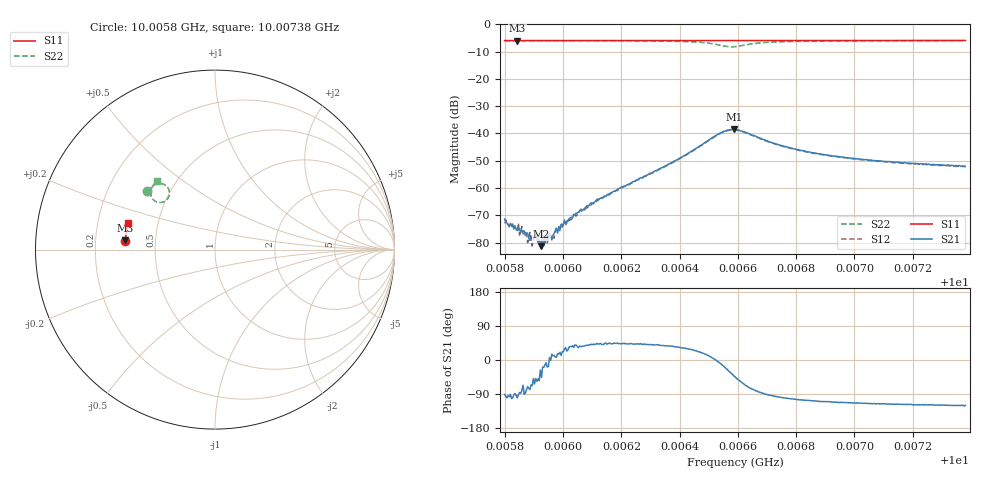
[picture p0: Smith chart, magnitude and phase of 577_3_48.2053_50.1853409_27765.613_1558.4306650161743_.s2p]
#  HZ  S  RI  R  50.00
! Rohde & Schwarz Vector Network Analyzer
! Rohde-Schwarz,ZNB20-2Port,1311601062101988,3.16
! Created: UTC 3/20/2024, 12:01:57 PM
! freq[Hz]  re:S11  im:S11  re:S21  im:S21  re:S12  im:S12  re:S22  im:S22
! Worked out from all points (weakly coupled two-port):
!   401 points, 10.0058 GHz to 10.00738 GHz, reference 50 ohm
!   highest |S21| = -38.46 dB at 10.00659 GHz (marker M1); lowest = -81.3 dB at 10.00593 GHz (marker M2)
!   lowest |S11| = -6.0 dB at 10.00584 GHz (marker M3), VSWR 3.02, Z = 16.6 + j2.26 ohm
!   |S11| at or under -10 dB: nowhere
!   |S22| runs from -8.3 to -6.0 dB; largest |S21 - S12| = 0.0008
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1.0005799e10  -0.4998 0.0479  -5.55e-06 -0.000271  3.82e-05 -0.000221  -0.3777 0.3238
1.0005842e10  -0.4995 0.051  -2.89e-05 -0.000164  -4.28e-06 -0.000173  -0.3755 0.3265
1.0005866e10  -0.4994 0.0525  -1.3e-06 -0.000164  4.34e-05 -0.000141  -0.3743 0.3281
1.000587e10  -0.4995 0.0526  6.27e-06 -0.000135  3.96e-05 -0.000156  -0.3742 0.3283
1.0005886e10  -0.4993 0.0538  2.28e-05 -0.000108  6.61e-05 -0.000139  -0.3734 0.3293
1.0005902e10  -0.4993 0.0547  5.83e-05 -0.000115  7.15e-05 -8.7e-05  -0.3725 0.3303
1.0005918e10  -0.4992 0.0559  6.36e-05 -8.87e-05  9.36e-05 -0.000114  -0.3715 0.3312
1.0005926e10  -0.4992 0.0563  5.98e-05 -6.22e-05  9.7e-05 -2.49e-05  -0.3711 0.3318
1.0005941e10  -0.4991 0.0575  0.000114 -1.52e-05  0.000141 -2.5e-05  -0.3701 0.3328
1.0005961e10  -0.499 0.0586  0.000108 2.96e-05  0.000138 1.95e-05  -0.3693 0.3341
1.0005997e10  -0.4987 0.061  0.000201 8.11e-05  0.000166 9.78e-05  -0.3671 0.3364
1.0006064e10  -0.4984 0.0653  0.00031 0.000221  0.000294 0.000276  -0.3628 0.341
1.0006123e10  -0.4979 0.0693  0.000459 0.000412  0.000434 0.00046  -0.3585 0.345
1.0006329e10  -0.4962 0.0826  0.00173 0.00142  0.00161 0.00145  -0.3357 0.3617
1.0006463e10  -0.4948 0.0913  0.00522 0.00212  0.00499 0.00235  -0.2955 0.367
1.0006538e10  -0.4933 0.0959  0.0101 -0.00145  0.0099 -0.000825  -0.2547 0.326
1.0006586e10  -0.4928 0.0983  0.00888 -0.00798  0.00905 -0.00721  -0.278 0.2704
1.000659e10  -0.4926 0.0983  0.00843 -0.0082  0.00864 -0.00761  -0.2828 0.2677
1.0006677e10  -0.4926 0.1039  0.000641 -0.00814  0.000985 -0.00795  -0.3529 0.2901
1.0006855e10  -0.4907 0.1155  -0.00135 -0.00424  -0.00113 -0.00423  -0.3547 0.3395
1.000712e10  -0.4871 0.1323  -0.00134 -0.00275  -0.00119 -0.00277  -0.3387 0.3656
1.0007381e10  -0.4827 0.1486  -0.00124 -0.00217  -0.00114 -0.00221  -0.3243 0.3818
